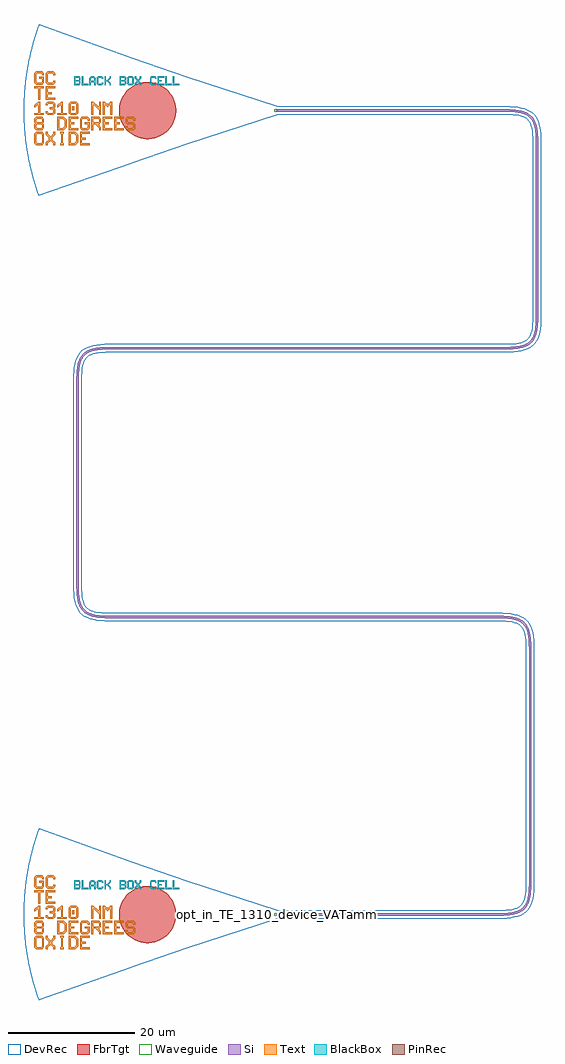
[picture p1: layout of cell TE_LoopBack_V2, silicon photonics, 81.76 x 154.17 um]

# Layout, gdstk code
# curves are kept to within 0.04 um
import gdstk
lib = gdstk.Library(unit=1e-6, precision=1e-09)
def R(c, l, rs):  # rectangles x0, y0, x1, y1
    for r in rs: c.add(gdstk.rectangle(r[:2], r[2:], *l))
def P(c, l, *ps):  # polygons
    for p in ps: c.add(gdstk.Polygon(p, *l))
Si = (1, 0)
PinRec = (1, 10)
Waveguide = (1, 99)
Text = (10, 0)
DevRec = (68, 0)
FbrTgt = (81, 0)
BlackBox = (998, 0)

waveguide_16 = lib.new_cell('Waveguide$16')
P(waveguide_16, Si, [(39.99,267.265),(39.99,267.615),(75.654,267.625),(76.921,267.729),(77.785,267.923),(78.555,268.284),(79.044,268.726),(79.402,269.316),(79.648,270.083),(79.792,271.048),(79.844,272.223),(79.845,309.44),(79.753,311.178),(79.495,312.33),(79.295,312.78),(79.043,313.155),(78.734,313.464),(78.253,313.77),(77.653,313.998),(77.077,314.127),(75.653,314.256),(13.308,314.267),(12.292,314.305),(11.252,314.439),(10.522,314.635),(9.908,314.924),(9.497,315.229),(9.236,315.504),(9.013,315.819),(8.775,316.301),(8.499,317.323),(8.364,318.795),(8.355,351.9),(8.429,353.506),(8.679,354.771),(8.887,355.29),(9.158,355.736),(9.498,356.112),(9.909,356.417),(10.523,356.706),(11.097,356.87),(12.682,357.058),(76.11,357.075),(77.322,357.115),(78.168,357.214),(78.875,357.383),(79.45,357.625),(79.825,357.877),(80.134,358.186),(80.386,358.561),(80.586,359.011),(80.844,360.163),(80.934,361.683),(80.925,390.074),(80.821,391.341),(80.627,392.205),(80.326,392.88),(79.906,393.392),(79.343,393.77),(78.608,394.034),(77.677,394.194),(76.539,394.261),(39.99,394.265),(39.99,394.615),(76.331,394.614),(77.891,394.522),(78.98,394.292),(79.499,394.084),(80.046,393.734),(80.482,393.276),(80.753,392.83),(80.961,392.311),(81.14,391.558),(81.28,389.876),(81.258,360.855),(81.112,359.623),(80.812,358.634),(80.627,358.279),(80.322,357.868),(79.946,357.528),(79.618,357.319),(78.981,357.049),(78.228,356.87),(77.348,356.765),(76.332,356.727),(12.897,356.716),(11.319,356.558),(10.641,356.376),(10.191,356.176),(9.816,355.924),(9.507,355.615),(9.255,355.24),(9.013,354.665),(8.777,353.468),(8.705,351.9),(8.714,318.807),(8.843,317.383),(9.099,316.431),(9.506,315.726),(10.09,315.224),(10.64,314.965),(11.318,314.783),(12.137,314.669),(13.312,314.617),(75.868,314.598),(77.453,314.41),(78.027,314.246),(78.527,314.022),(78.956,313.734),(79.313,313.377),(79.601,312.948),(79.825,312.448),(80.101,311.222),(80.193,309.662),(80.194,272.219),(80.122,270.835),(79.954,269.856),(79.664,269.051),(79.232,268.408),(78.642,267.924),(77.891,267.589),(76.973,267.383),(75.666,267.275)])
P(waveguide_16, Waveguide, [(39.99,267.265),(39.99,267.615),(75.654,267.625),(76.921,267.729),(77.785,267.923),(78.555,268.284),(79.044,268.726),(79.402,269.316),(79.648,270.083),(79.792,271.048),(79.844,272.223),(79.845,309.44),(79.753,311.178),(79.495,312.33),(79.295,312.78),(79.043,313.155),(78.734,313.464),(78.253,313.77),(77.653,313.998),(77.077,314.127),(75.653,314.256),(13.308,314.267),(12.292,314.305),(11.252,314.439),(10.522,314.635),(9.908,314.924),(9.497,315.229),(9.236,315.504),(9.013,315.819),(8.775,316.301),(8.499,317.323),(8.364,318.795),(8.355,351.9),(8.429,353.506),(8.679,354.771),(8.887,355.29),(9.158,355.736),(9.498,356.112),(9.909,356.417),(10.523,356.706),(11.097,356.87),(12.682,357.058),(76.11,357.075),(77.322,357.115),(78.168,357.214),(78.875,357.383),(79.45,357.625),(79.825,357.877),(80.134,358.186),(80.386,358.561),(80.586,359.011),(80.844,360.163),(80.934,361.683),(80.925,390.074),(80.821,391.341),(80.627,392.205),(80.326,392.88),(79.906,393.392),(79.343,393.77),(78.608,394.034),(77.677,394.194),(76.539,394.261),(39.99,394.265),(39.99,394.615),(76.331,394.614),(77.891,394.522),(78.98,394.292),(79.499,394.084),(80.046,393.734),(80.482,393.276),(80.753,392.83),(80.961,392.311),(81.14,391.558),(81.28,389.876),(81.258,360.855),(81.112,359.623),(80.812,358.634),(80.627,358.279),(80.322,357.868),(79.946,357.528),(79.618,357.319),(78.981,357.049),(78.228,356.87),(77.348,356.765),(76.332,356.727),(12.897,356.716),(11.319,356.558),(10.641,356.376),(10.191,356.176),(9.816,355.924),(9.507,355.615),(9.255,355.24),(9.013,354.665),(8.777,353.468),(8.705,351.9),(8.714,318.807),(8.843,317.383),(9.099,316.431),(9.506,315.726),(10.09,315.224),(10.64,314.965),(11.318,314.783),(12.137,314.669),(13.312,314.617),(75.868,314.598),(77.453,314.41),(78.027,314.246),(78.527,314.022),(78.956,313.734),(79.313,313.377),(79.601,312.948),(79.825,312.448),(80.101,311.222),(80.193,309.662),(80.194,272.219),(80.122,270.835),(79.954,269.856),(79.664,269.051),(79.232,268.408),(78.642,267.924),(77.891,267.589),(76.973,267.383),(75.666,267.275)])
P(waveguide_16, DevRec, [(39.99,266.765),(39.99,268.115),(75.672,268.126),(76.776,268.214),(77.619,268.395),(78.218,268.662),(78.635,269.016),(78.943,269.514),(79.168,270.232),(79.303,271.204),(79.345,272.44),(79.345,309.44),(79.302,310.677),(79.065,312.039),(78.942,312.367),(78.634,312.865),(78.444,313.055),(77.946,313.363),(76.775,313.667),(75.672,313.755),(13.53,313.765),(12.185,313.812),(11.035,313.973),(10.051,314.286),(9.618,314.516),(8.889,315.14),(8.375,315.962),(8.062,316.946),(7.865,318.742),(7.855,351.9),(7.966,353.842),(8.197,354.905),(8.606,355.812),(8.89,356.201),(9.619,356.825),(10.052,357.055),(11.036,357.368),(12.832,357.565),(76.11,357.575),(77.866,357.674),(78.709,357.855),(79.308,358.122),(79.535,358.286),(79.889,358.703),(80.156,359.302),(80.393,360.664),(80.435,361.9),(80.424,390.092),(80.336,391.196),(80.155,392.039),(79.888,392.638),(79.534,393.055),(79.036,393.363),(78.318,393.588),(76.762,393.755),(39.99,393.765),(39.99,395.115),(76.11,395.115),(78.051,395.005),(79.114,394.774),(80.021,394.365),(80.41,394.081),(81.034,393.352),(81.264,392.919),(81.577,391.935),(81.774,390.14),(81.775,361.202),(81.578,359.406),(81.265,358.422),(80.751,357.6),(80.022,356.976),(79.589,356.746),(78.605,356.433),(77.455,356.272),(76.11,356.225),(12.878,356.215),(11.775,356.127),(10.604,355.823),(10.106,355.515),(9.916,355.325),(9.608,354.827),(9.485,354.499),(9.248,353.137),(9.205,351.9),(9.215,318.788),(9.303,317.685),(9.484,316.842),(9.751,316.243),(9.915,316.016),(10.332,315.662),(10.931,315.395),(11.774,315.214),(13.53,315.115),(75.718,315.105),(77.514,314.908),(78.498,314.595),(78.931,314.365),(79.66,313.741),(79.944,313.352),(80.353,312.445),(80.584,311.382),(80.695,309.44),(80.685,271.742),(80.585,270.499),(80.354,269.436),(79.945,268.529),(79.661,268.14),(78.932,267.516),(78.025,267.107),(76.962,266.876),(75.72,266.776)])
waveguide_16.add(gdstk.FlexPath([(40,394.44),(39.98,394.44)], 0.35, ends="flush", simple_path=True, layer=1, datatype=10))  # PinRec
waveguide_16.add(gdstk.FlexPath([(40,267.44),(39.98,267.44)], 0.35, ends="flush", simple_path=True, layer=1, datatype=10))  # PinRec
waveguide_16.add(gdstk.Label('opt1', (39.99,394.44), layer=1, texttype=10))
waveguide_16.add(gdstk.Label('opt2', (39.99,267.44), layer=1, texttype=10))
waveguide_16.add(gdstk.Label('Lumerical_INTERCONNECT_library=Design kits/EBeam', (39.99,394.37), layer=68, texttype=0))
waveguide_16.add(gdstk.Label('Component=ebeam_wg_integral_1310', (39.99,394.51), layer=68, texttype=0))
waveguide_16.add(gdstk.Label('cellName=Waveguide', (39.99,394.58), layer=68, texttype=0))
waveguide_16.add(gdstk.Label('Spice_param:wg_length=0.000342942 wg_width=3.5e-07 points="[[39.99,394.44],[81.11,394.44],[81.11,356.9],[8.53,356.9],[8.53,314.44],[80.02,314.44],[80.02,267.44],[39.99,267.44]]" radius=5e-06', (39.99,394.44), layer=68, texttype=0))
waveguide_16.add(gdstk.Label('Length=342.942 (microns)', (39.99,394.02), layer=68, texttype=0))
waveguide_16.add(gdstk.Label('waveguide_type=Strip TE 1310 nm, w=350 nm', (39.99,394.3), layer=68, texttype=0))

text = lib.new_cell('TEXT')
P(text, BlackBox, [(0,0),(0,1.4),(0.8,1.4),(1,1.2),(0.2,1.2),(0.2,0.8),(0.7,0.8),(0.8,0.9),(0.8,1.1),(0.7,1.2),(1,1.2),(1,0.8),(0.9,0.7),(1,0.6),(0.2,0.6),(0.2,0.2),(0.7,0.2),(0.8,0.3),(0.8,0.5),(0.7,0.6),(1,0.6),(1,0.2),(0.8,0)],
  [(1.2,0),(1.2,1.4),(1.4,1.4),(1.4,0.2),(2.2,0.2),(2.2,0)],
  [(2.4,0),(2.4,1.1),(2.7,1.4),(3.1,1.4),(3.3,1.2),(2.8,1.2),(2.6,1),(2.6,0.7),(3.2,0.7),(3.2,1),(3,1.2),(3.3,1.2),(3.4,1.1),(3.4,0),(3.2,0),(3.2,0.5),(2.6,0.5),(2.6,0)],
  [(3.8,0),(3.6,0.2),(3.6,1.2),(3.8,1.4),(4.4,1.4),(4.6,1.2),(4.6,1),(4.4,1),(4.4,1.1),(4.3,1.2),(3.9,1.2),(3.8,1.1),(3.8,0.3),(3.9,0.2),(4.3,0.2),(4.4,0.3),(4.4,0.4),(4.6,0.4),(4.6,0.2),(4.4,0)],
  [(4.8,0),(4.8,1.4),(5,1.4),(5,0.8),(5.2,0.8),(5.6,1.2),(5.6,1.4),(5.8,1.4),(5.8,1.1),(5.4,0.7),(5.8,0.3),(5.8,0),(5.6,0),(5.6,0.2),(5.2,0.6),(5,0.6),(5,0)],
  [(7.2,0),(7.2,1.4),(8,1.4),(8.2,1.2),(7.4,1.2),(7.4,0.8),(7.9,0.8),(8,0.9),(8,1.1),(7.9,1.2),(8.2,1.2),(8.2,0.8),(8.1,0.7),(8.2,0.6),(7.4,0.6),(7.4,0.2),(7.9,0.2),(8,0.3),(8,0.5),(7.9,0.6),(8.2,0.6),(8.2,0.2),(8,0)],
  [(8.6,0),(8.4,0.2),(8.4,1.2),(8.6,1.4),(9.2,1.4),(9.4,1.2),(9.4,0.7),(9.2,0.7),(9.2,1.1),(9.1,1.2),(8.7,1.2),(8.6,1.1),(8.6,0.3),(8.7,0.2),(9.1,0.2),(9.2,0.3),(9.2,0.7),(9.4,0.7),(9.4,0.2),(9.2,0)],
  [(9.6,0),(9.6,0.3),(9.9,0.6),(9.9,0.8),(9.6,1.1),(9.6,1.4),(9.8,1.4),(9.8,1.2),(10.1,0.9),(10.4,1.2),(10.4,1.4),(10.6,1.4),(10.6,1.1),(10.3,0.8),(10.3,0.6),(10.6,0.3),(10.6,0),(10.4,0),(10.4,0.2),(10.1,0.5),(9.8,0.2),(9.8,0)],
  [(12.2,0),(12,0.2),(12,1.2),(12.2,1.4),(12.8,1.4),(13,1.2),(13,1),(12.8,1),(12.8,1.1),(12.7,1.2),(12.3,1.2),(12.2,1.1),(12.2,0.3),(12.3,0.2),(12.7,0.2),(12.8,0.3),(12.8,0.4),(13,0.4),(13,0.2),(12.8,0)],
  [(13.2,0),(13.2,1.4),(14.2,1.4),(14.2,1.2),(13.4,1.2),(13.4,0.8),(13.8,0.8),(13.8,0.6),(13.4,0.6),(13.4,0.2),(14.2,0.2),(14.2,0)],
  [(14.4,0),(14.4,1.4),(14.6,1.4),(14.6,0.2),(15.4,0.2),(15.4,0)],
  [(15.6,0),(15.6,1.4),(15.8,1.4),(15.8,0.2),(16.6,0.2),(16.6,0)])

gc_te_1310_8degoxide_bb = lib.new_cell('GC_TE_1310_8degOxide_BB')
R(gc_te_1310_8degoxide_bb, Waveguide, [(-0.4,-0.175,0,0.175)])
R(gc_te_1310_8degoxide_bb, Text, [(-32.27,0.06,-31.97,0.66)])
P(gc_te_1310_8degoxide_bb, Text, [(-37.67,1.71),(-37.67,3.51),(-38.27,3.51),(-38.27,3.81),(-36.77,3.81),(-36.77,3.51),(-37.37,3.51),(-37.37,1.71)],
  [(-37.97,-5.49),(-38.27,-5.19),(-38.27,-3.69),(-37.97,-3.39),(-37.07,-3.39),(-36.77,-3.69),(-36.77,-4.44),(-37.07,-4.44),(-37.07,-3.84),(-37.22,-3.69),(-37.82,-3.69),(-37.97,-3.84),(-37.97,-5.04),(-37.82,-5.19),(-37.22,-5.19),(-37.07,-5.04),(-37.07,-4.44),(-36.77,-4.44),(-36.77,-5.19),(-37.07,-5.49)],
  [(-31.07,-5.49),(-31.07,-3.39),(-29.57,-3.39),(-29.57,-3.69),(-30.77,-3.69),(-30.77,-4.29),(-30.17,-4.29),(-30.17,-4.59),(-30.77,-4.59),(-30.77,-5.19),(-29.57,-5.19),(-29.57,-5.49)],
  [(-32.87,-3.09),(-32.87,-0.99),(-31.37,-0.99),(-31.37,-1.29),(-32.57,-1.29),(-32.57,-1.89),(-31.97,-1.89),(-31.97,-2.19),(-32.57,-2.19),(-32.57,-2.79),(-31.37,-2.79),(-31.37,-3.09)],
  [(-27.47,-3.09),(-27.47,-0.99),(-25.97,-0.99),(-25.97,-1.29),(-27.17,-1.29),(-27.17,-1.89),(-26.57,-1.89),(-26.57,-2.19),(-27.17,-2.19),(-27.17,-2.79),(-25.97,-2.79),(-25.97,-3.09)],
  [(-25.67,-3.09),(-25.67,-0.99),(-24.17,-0.99),(-24.17,-1.29),(-25.37,-1.29),(-25.37,-1.89),(-24.77,-1.89),(-24.77,-2.19),(-25.37,-2.19),(-25.37,-2.79),(-24.17,-2.79),(-24.17,-3.09)],
  [(-36.47,1.71),(-36.47,3.81),(-34.97,3.81),(-34.97,3.51),(-36.17,3.51),(-36.17,2.91),(-35.57,2.91),(-35.57,2.61),(-36.17,2.61),(-36.17,2.01),(-34.97,2.01),(-34.97,1.71)],
  [(-27.47,-0.69),(-27.47,1.41),(-27.17,1.41),(-26.87,1.11),(-26.57,1.11),(-26.27,1.41),(-25.97,1.41),(-25.97,-0.69),(-26.27,-0.69),(-26.27,0.81),(-26.42,0.81),(-26.72,0.51),(-27.02,0.81),(-27.17,0.81),(-27.17,-0.69)],
  [(-29.27,-0.69),(-29.27,1.41),(-28.97,1.41),(-28.22,0.66),(-28.07,0.66),(-28.07,1.41),(-27.77,1.41),(-27.77,-0.69),(-28.07,-0.69),(-28.07,0.06),(-28.82,0.81),(-28.97,0.81),(-28.97,-0.69)],
  [(-34.22,-5.49),(-34.22,-5.19),(-34.07,-5.19),(-34.07,-3.69),(-34.22,-3.69),(-34.22,-3.39),(-33.62,-3.39),(-33.62,-3.69),(-33.77,-3.69),(-33.77,-5.19),(-33.62,-5.19),(-33.62,-5.49)],
  [(-36.17,-0.69),(-36.47,-0.39),(-36.47,-0.09),(-36.17,-0.09),(-36.17,-0.24),(-36.02,-0.39),(-35.42,-0.39),(-35.27,-0.24),(-35.27,0.06),(-35.42,0.21),(-35.87,0.21),(-35.87,0.51),(-35.42,0.51),(-35.27,0.66),(-35.27,0.96),(-35.42,1.11),(-36.02,1.11),(-36.17,0.96),(-36.17,0.81),(-36.47,0.81),(-36.47,1.11),(-36.17,1.41),(-35.27,1.41),(-34.97,1.11),(-34.97,0.51),(-35.12,0.36),(-34.97,0.21),(-34.97,-0.39),(-35.27,-0.69)],
  [(-29.27,-3.09),(-29.27,-0.99),(-28.07,-0.99),(-27.77,-1.29),(-28.97,-1.29),(-28.97,-1.89),(-28.22,-1.89),(-28.07,-1.74),(-28.07,-1.44),(-28.22,-1.29),(-27.77,-1.29),(-27.77,-1.89),(-28.07,-2.19),(-28.07,-2.34),(-27.77,-2.64),(-27.77,-3.09),(-28.07,-3.09),(-28.07,-2.79),(-28.67,-2.19),(-28.97,-2.19),(-28.97,-3.09)],
  [(-30.77,-3.09),(-31.07,-2.79),(-31.07,-1.29),(-30.77,-0.99),(-29.87,-0.99),(-29.57,-1.29),(-29.57,-1.59),(-29.87,-1.59),(-29.87,-1.44),(-30.02,-1.29),(-30.62,-1.29),(-30.77,-1.44),(-30.77,-2.64),(-30.62,-2.79),(-30.02,-2.79),(-29.87,-2.64),(-29.87,-2.19),(-30.32,-2.19),(-30.32,-1.89),(-29.57,-1.89),(-29.57,-2.79),(-29.87,-3.09)],
  [(-37.97,4.11),(-38.27,4.41),(-38.27,5.91),(-37.97,6.21),(-37.07,6.21),(-36.77,5.91),(-36.77,5.61),(-37.07,5.61),(-37.07,5.76),(-37.22,5.91),(-37.82,5.91),(-37.97,5.76),(-37.97,4.56),(-37.82,4.41),(-37.22,4.41),(-37.07,4.56),(-37.07,5.01),(-37.52,5.01),(-37.52,5.31),(-36.77,5.31),(-36.77,4.41),(-37.07,4.11)],
  [(-32.57,-0.69),(-32.87,-0.39),(-32.87,1.11),(-32.57,1.41),(-31.67,1.41),(-31.37,1.11),(-32.42,1.11),(-32.57,0.96),(-32.57,-0.24),(-32.42,-0.39),(-31.82,-0.39),(-31.67,-0.24),(-31.67,0.96),(-31.82,1.11),(-31.37,1.11),(-31.37,-0.39),(-31.67,-0.69)],
  [(-32.87,-5.49),(-32.87,-3.39),(-31.82,-3.39),(-31.52,-3.69),(-32.57,-3.69),(-32.57,-5.19),(-31.97,-5.19),(-31.67,-4.89),(-31.67,-3.99),(-31.97,-3.69),(-31.52,-3.69),(-31.37,-3.84),(-31.37,-5.04),(-31.82,-5.49)],
  [(-34.67,-3.09),(-34.67,-0.99),(-33.62,-0.99),(-33.32,-1.29),(-34.37,-1.29),(-34.37,-2.79),(-33.77,-2.79),(-33.47,-2.49),(-33.47,-1.59),(-33.77,-1.29),(-33.32,-1.29),(-33.17,-1.44),(-33.17,-2.64),(-33.62,-3.09)],
  [(-23.57,-3.09),(-23.87,-2.79),(-23.87,-2.49),(-23.57,-2.49),(-23.57,-2.64),(-23.42,-2.79),(-22.82,-2.79),(-22.67,-2.64),(-22.67,-2.34),(-22.82,-2.19),(-23.57,-2.19),(-23.87,-1.89),(-23.87,-1.29),(-23.57,-0.99),(-22.67,-0.99),(-22.37,-1.29),(-22.37,-1.59),(-22.67,-1.59),(-22.67,-1.44),(-22.82,-1.29),(-23.42,-1.29),(-23.57,-1.44),(-23.57,-1.74),(-23.42,-1.89),(-22.67,-1.89),(-22.37,-2.19),(-22.37,-2.79),(-22.67,-3.09)],
  [(-37.97,-3.09),(-38.27,-2.79),(-38.27,-2.19),(-38.12,-2.04),(-38.27,-1.89),(-38.27,-1.29),(-37.97,-0.99),(-37.07,-0.99),(-36.77,-1.29),(-37.82,-1.29),(-37.97,-1.44),(-37.97,-1.74),(-37.82,-1.89),(-37.22,-1.89),(-37.07,-1.74),(-37.07,-1.44),(-37.22,-1.29),(-36.77,-1.29),(-36.77,-1.89),(-36.92,-2.04),(-36.77,-2.19),(-37.82,-2.19),(-37.97,-2.34),(-37.97,-2.64),(-37.82,-2.79),(-37.22,-2.79),(-37.07,-2.64),(-37.07,-2.34),(-37.22,-2.19),(-36.77,-2.19),(-36.77,-2.79),(-37.07,-3.09)],
  [(-38.27,-0.69),(-38.27,-0.39),(-37.67,-0.39),(-37.67,0.81),(-37.82,0.81),(-38.12,0.51),(-38.27,0.51),(-38.27,0.81),(-37.67,1.41),(-37.37,1.41),(-37.37,-0.39),(-36.77,-0.39),(-36.77,-0.69)],
  [(-34.67,-0.69),(-34.67,-0.39),(-34.07,-0.39),(-34.07,0.81),(-34.22,0.81),(-34.52,0.51),(-34.67,0.51),(-34.67,0.81),(-34.07,1.41),(-33.77,1.41),(-33.77,-0.39),(-33.17,-0.39),(-33.17,-0.69)],
  [(-36.47,-5.49),(-36.47,-5.04),(-36.02,-4.59),(-36.02,-4.29),(-36.47,-3.84),(-36.47,-3.39),(-36.17,-3.39),(-36.17,-3.69),(-35.72,-4.14),(-35.27,-3.69),(-35.27,-3.39),(-34.97,-3.39),(-34.97,-3.84),(-35.42,-4.29),(-35.42,-4.59),(-34.97,-5.04),(-34.97,-5.49),(-35.27,-5.49),(-35.27,-5.19),(-35.72,-4.74),(-36.17,-5.19),(-36.17,-5.49)],
  [(-36.17,4.11),(-36.47,4.41),(-36.47,5.91),(-36.17,6.21),(-35.27,6.21),(-34.97,5.91),(-34.97,5.61),(-35.27,5.61),(-35.27,5.76),(-35.42,5.91),(-36.02,5.91),(-36.17,5.76),(-36.17,4.56),(-36.02,4.41),(-35.42,4.41),(-35.27,4.56),(-35.27,4.71),(-34.97,4.71),(-34.97,4.41),(-35.27,4.11)])
P(gc_te_1310_8degoxide_bb, DevRec, [(-37.607,-13.5),(-38.627,-10.245),(-39.378,-6.832),(-39.647,-5.058),(-39.835,-3.274),(-39.969,0.224),(-39.812,3.541),(-39.331,7.097),(-38.557,10.505),(-37.546,13.669),(-22.8,8.353),(-14.109,5.36),(0,0.75),(0,-0.75),(-14.109,-5.36)])
P(gc_te_1310_8degoxide_bb, FbrTgt, [(-20.621,-4.5),(-21.495,-4.37),(-22.326,-4.073),(-23.084,-3.619),(-23.738,-3.026),(-24.264,-2.316),(-24.642,-1.518),(-24.857,-0.661),(-24.9,0.221),(-24.77,1.095),(-24.473,1.926),(-24.019,2.684),(-23.426,3.338),(-22.716,3.864),(-21.918,4.242),(-21.061,4.457),(-20.179,4.5),(-19.305,4.37),(-18.474,4.073),(-17.716,3.619),(-17.062,3.026),(-16.536,2.316),(-16.158,1.518),(-15.943,0.661),(-15.9,-0.221),(-16.03,-1.095),(-16.327,-1.926),(-16.781,-2.684),(-17.374,-3.338),(-18.084,-3.864),(-18.882,-4.242),(-19.739,-4.457)])
gc_te_1310_8degoxide_bb.add(gdstk.FlexPath([(-0.01,0),(0.01,0)], 0.35, ends="flush", simple_path=True, layer=1, datatype=10))  # PinRec
gc_te_1310_8degoxide_bb.add(gdstk.Reference(text, (-32,4)))
gc_te_1310_8degoxide_bb.add(gdstk.Label('opt1', (0,0), layer=1, texttype=10))
gc_te_1310_8degoxide_bb.add(gdstk.Label('Lumerical_INTERCONNECT_library=Design kits/ebeam', (-29,-7), layer=68, texttype=0))
gc_te_1310_8degoxide_bb.add(gdstk.Label('Component=GC_TE_1310_8degOxide_BB', (-28,-5), layer=68, texttype=0))

te_loopback_v2 = lib.new_cell('TE_LoopBack_V2')
te_loopback_v2.add(gdstk.Reference(waveguide_16, (0,0)))
te_loopback_v2.add(gdstk.Reference(gc_te_1310_8degoxide_bb, (39.99,267.44)))
te_loopback_v2.add(gdstk.Reference(gc_te_1310_8degoxide_bb, (39.99,394.44)))
te_loopback_v2.add(gdstk.Label('opt_in_TE_1310_device_VATamma_devV2LoopBack2', (39.99,267.44), layer=10, texttype=0))

lib.write_gds('TE_LoopBack_V2.gds')
